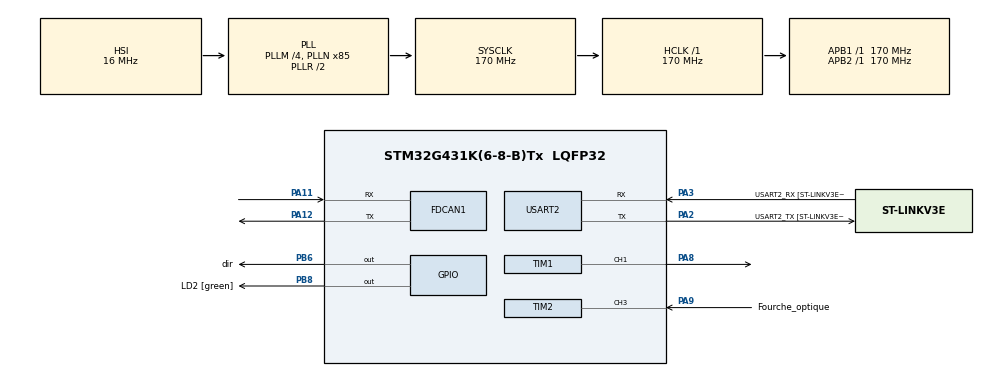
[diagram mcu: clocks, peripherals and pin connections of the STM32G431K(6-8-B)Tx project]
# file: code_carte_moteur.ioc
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FDCAN1.CalculateBaudRateNominal=1000000
FDCAN1.CalculateTimeBitNominal=1000
FDCAN1.CalculateTimeQuantumNominal=100.0
FDCAN1.NominalPrescaler=17
FDCAN1.NominalTimeSeg1=7
FDCAN1.NominalTimeSeg2=2
Mcu.Family=STM32G4
Mcu.Name=STM32G431K(6-8-B)Tx
Mcu.Package=LQFP32
NVIC.FDCAN1_IT0_IRQn=true\:0\:0\:false\:false\:true\:true\:true\:true
NVIC.PriorityGroup=NVIC_PRIORITYGROUP_4
NVIC.TIM2_IRQn=true\:0\:0\:false\:false\:true\:true\:true\:true
NVIC.TIM3_IRQn=true\:0\:0\:false\:false\:true\:true\:true\:true
PA11.Mode=FDCAN_Activate
PA11.Signal=FDCAN1_RX
PA12.Mode=FDCAN_Activate
PA12.Signal=FDCAN1_TX
PA13.GPIO_Label=T_SWDIO
PA13.Mode=Serial_Wire
PA13.Signal=SYS_JTMS-SWDIO
PA14.GPIO_Label=T_SWCLK
PA14.Mode=Serial_Wire
PA14.Signal=SYS_JTCK-SWCLK
PA2.GPIO_Label=USART2_TX [ST-LINKV3E_VCP_RX]
PA2.Mode=Asynchronous
PA2.Signal=USART2_TX
PA3.GPIO_Label=USART2_RX [ST-LINKV3E_VCP_TX]
PA3.Mode=Asynchronous
PA3.Signal=USART2_RX
PA8.Signal=S_TIM1_CH1
PA9.GPIO_Label=Fourche_optique
PA9.GPIO_ModeDefaultPP=GPIO_MODE_AF_PP
PA9.GPIO_PuPd=GPIO_PULLDOWN
PA9.Signal=S_TIM2_CH3
PB3.GPIO_Label=T_SWO
PB3.Signal=SYS_JTDO-SWO
PB6.GPIO_Label=dir
PB6.Signal=GPIO_Output
PB8-BOOT0.GPIO_Label=LD2 [green]
PB8-BOOT0.Signal=GPIO_Output
ProjectManager.HeapSize=0x200
ProjectManager.StackSize=0x400
ProjectManager.TargetToolchain=STM32CubeIDE
RCC.ADC12Freq_Value=170000000
RCC.AHBFreq_Value=170000000
RCC.APB1Freq_Value=170000000
RCC.APB1TimFreq_Value=170000000
RCC.APB2Freq_Value=170000000
RCC.APB2TimFreq_Value=170000000
RCC.CortexFreq_Value=170000000
RCC.EXTERNAL_CLOCK_VALUE=12288000
RCC.HCLKFreq_Value=170000000
RCC.HSE_VALUE=8000000
RCC.HSI48_VALUE=48000000
RCC.HSI_VALUE=16000000
RCC.LSE_VALUE=32768
RCC.PLLM=RCC_PLLM_DIV4
RCC.PLLN=85
RCC.SYSCLKFreq_VALUE=170000000
RCC.SYSCLKSource=RCC_SYSCLKSOURCE_PLLCLK
RCC.USBFreq_Value=170000000
RCC.VCOOutputFreq_Value=340000000
SH.S_TIM1_CH1.0=TIM1_CH1,PWM Generation1 CH1
SH.S_TIM2_CH3.0=TIM2_CH3,Input_Capture3_from_TI3
TIM1.Channel-PWM\ Generation1\ CH1=TIM_CHANNEL_1
TIM1.PeriodNoDither=8500
TIM1.Prescaler=1
TIM1.PulseNoDither_1=4249
TIM2.Channel-Input_Capture3_from_TI3=TIM_CHANNEL_3
TIM2.PeriodNoDither=170000000-1
TIM2.Prescaler=0
TIM3.PeriodNoDither=10000
TIM3.Prescaler=170-1
USART2.VirtualMode-Asynchronous=VM_ASYNC
USART2.WordLength=WORDLENGTH_8B
VP_SYS_VS_DBSignals.Mode=DisableDeadBatterySignals
VP_TIM1_VS_ClockSourceINT.Mode=Internal
VP_TIM2_VS_ClockSourceINT.Mode=Internal
VP_TIM3_VS_ClockSourceINT.Mode=Internal
board=NUCLEO-G431KB

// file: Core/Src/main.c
/* USER CODE BEGIN Header */
/**
 ******************************************************************************
 * @file           : main.c
 * @brief          : Main program body
 ******************************************************************************
 * @attention
 *
 * Copyright (c) 2024 STMicroelectronics.
 * All rights reserved.
 *
 * This software is licensed under terms that can be found in the LICENSE file
 * in the root directory of this software component.
 * If no LICENSE file comes with this software, it is provided AS-IS.
 *
 ******************************************************************************
 */
/* USER CODE END Header */
#include "main.h"
#include "fdcan.h"
#include "tim.h"
#include "usart.h"
#include "gpio.h"

/* USER CODE BEGIN Includes */
#include <stdio.h>
#include <stdbool.h>
#include "herculex.h"
#include "pwm_api.h"
#define TIM_CLOCK_FOURCHE_OPTIQUE 170000000
#define PRESCALAR_FOURCHE_OPTIQUE 1
#define ARR_FOURCHE_OPTIQUE 0xffffffff
#define DISTANCE_ANGULAIRE_EN_METRE 0.00493
#define MAX_SPEED 4.07
#define FACTEUR_CONVERTION_VITESSE_LINEAIRE_EN_RAPPORT_CYCLIQUE (1.0 / 3.90)
#define KP 1.5

/* USER CODE END Includes */

/* USER CODE BEGIN PD */
#undef DEBUG_FOURCHE_OPTIQUE
/* USER CODE END PD */

/* USER CODE BEGIN PM */
#define PUTCHAR_PROTOTYPE int __io_putchar(int ch)
PUTCHAR_PROTOTYPE
{
	HAL_UART_Transmit(&huart2, (uint8_t*)&ch, 1, HAL_MAX_DELAY);

	return ch;
}

//Interruption pour mesurer la vitesse du moteur
float CK_CNT = TIM_CLOCK_FOURCHE_OPTIQUE/(PRESCALAR_FOURCHE_OPTIQUE);
uint32_t IC_Val1 = 0, IC_Val2 = 0;
uint32_t Difference = 0;
char First_rising;
float Frecuency = 0;
float measured_speed_m_par_sec = 0;
float vitesse_consigne = 0.0;
bool sens_rotation;
bool utiliser_asservissement = 0;
//au moment de changement du projet le tim interrupt se désactive
void HAL_TIM_IC_CaptureCallback(TIM_HandleTypeDef *htim)
{

	if(htim->Channel == HAL_TIM_ACTIVE_CHANNEL_3)
	{
		if(First_rising == 1)
		{
			IC_Val1 = HAL_TIM_ReadCapturedValue(htim, TIM_CHANNEL_3);
			First_rising = 0;
		}
		else
		{
			IC_Val2 = HAL_TIM_ReadCapturedValue(htim, TIM_CHANNEL_3);
			if(IC_Val2 > IC_Val1)
			{
				Difference = IC_Val2 - IC_Val1;
			}
			else if (IC_Val1 > IC_Val2)
			{
				Difference = ( ARR_FOURCHE_OPTIQUE - IC_Val1) + IC_Val2;
			}

			Frecuency = CK_CNT/Difference;
			measured_speed_m_par_sec = DISTANCE_ANGULAIRE_EN_METRE*Frecuency;

			__HAL_TIM_SET_COUNTER(htim, 0);
			First_rising = 1;
		}
	}
}
bool dix_millisecondes_passes = 0;
void HAL_TIM_PeriodElapsedCallback(TIM_HandleTypeDef *htim)
{
  	if (htim==&htim3)
  	{
  		dix_millisecondes_passes = 1;
  	}

  }
/* USER CODE END PM */

/* USER CODE BEGIN PV */
T_FDCAN_trame_rx trame_rx;
/* USER CODE END PV */

void SystemClock_Config(void);

int main(void)
{

  /* MCU Configuration--------------------------------------------------------*/

  /* Reset of all peripherals, Initializes the Flash interface and the Systick. */
  HAL_Init();

  /* Configure the system clock */
  SystemClock_Config();

  /* Initialize all configured peripherals */
  MX_GPIO_Init();
  MX_USART2_UART_Init();
  MX_FDCAN1_Init();
  MX_TIM1_Init();
  MX_TIM2_Init();
  MX_TIM3_Init();
  /* USER CODE BEGIN 2 */
  HAL_FDCAN_Start(&hfdcan1);
  HAL_FDCAN_ActivateNotification(&hfdcan1, FDCAN_IT_RX_FIFO0_NEW_MESSAGE, 0);
  HAL_TIM_IC_Start_IT(&htim2,TIM_CHANNEL_3);
  HAL_TIM_PWM_Start(&htim1,TIM_CHANNEL_1);
  HAL_TIM_Base_Start_IT(&htim3);
	/**
	 * @note Mettre la vitesse à 0 au démarrage du moteur CC
	 */
	PWM_dir_and_cycle(0, &htim1, TIM_CHANNEL_1, 0);
  /* USER CODE END 2 */

  /* Infinite loop */
  /* USER CODE BEGIN WHILE */
	float error = 0;
	float pwm = 0;
	float compteur_de_10_mms;
	float compteur_de_vitesse_nulle;
	float measured_speed_m_par_sec_ancien = 0;
	int16_t measured_speed_mm_par_sec = 0;
	int8_t txData[2];
	FDCAN_TxHeaderTypeDef header;
	while (1)
	{
#ifdef DEBUG_FOURCHE_OPTIQUE
		printf(">Vitesse: %f\n", measured_speed_m_par_sec);
		//printf(">Frecuency: %f\n", Frecuency);
#endif

		/**
		 * @note Vitesse asservie de 6.8V à 8.5V pour une consigne de 0.8 m/s
		 */
		if(utiliser_asservissement)
		{
		error = vitesse_consigne - measured_speed_m_par_sec;
		//printf(">error_vitesse_lineaire: %2.5f m/s\n", error);
		error = error * FACTEUR_CONVERTION_VITESSE_LINEAIRE_EN_RAPPORT_CYCLIQUE * KP;
		//printf(">error_rapport_cyclique: %2.5f m/s\n", error);
		pwm = vitesse_consigne * FACTEUR_CONVERTION_VITESSE_LINEAIRE_EN_RAPPORT_CYCLIQUE + error;
		//printf(">pwm: %f\n", pwm);
		PWM_dir_and_cycle(sens_rotation, &htim1, TIM_CHANNEL_1, pwm);
		}
		if(dix_millisecondes_passes)
				{
					compteur_de_10_mms++;
					if(measured_speed_m_par_sec == measured_speed_m_par_sec_ancien)
					{
						compteur_de_vitesse_nulle++;
						//printf(">compteur_de_vitesse_nulle: %2.5f m/s\n", compteur_de_vitesse_nulle);
					}
					else compteur_de_vitesse_nulle = 0;
					if(compteur_de_vitesse_nulle == 50)
					{
						measured_speed_m_par_sec = 0;
						compteur_de_vitesse_nulle = 0;
					}
					if(compteur_de_10_mms == 10)
					{
						measured_speed_mm_par_sec = measured_speed_m_par_sec*1000;
						txData[0] = measured_speed_mm_par_sec >> 8;
						txData[1] = measured_speed_mm_par_sec & 0x00FF;
						/******************* NE PAS TOUCHER **************************************/
						header.ErrorStateIndicator = FDCAN_ESI_ACTIVE;
						header.BitRateSwitch = FDCAN_BRS_OFF;
						header.FDFormat = FDCAN_CLASSIC_CAN;
						header.TxEventFifoControl = FDCAN_NO_TX_EVENTS;
						header.MessageMarker = 0;
						/*************************************************************************/

						header.Identifier = CAN_ID_FOURCHE_OPTIQUE; // Set your CAN identifier
						header.IdType = FDCAN_STANDARD_ID; // Standard ID
						header.TxFrameType = FDCAN_DATA_FRAME; // Data frame
						header.DataLength = 2; // Data length

						/*************************************************************************/
						HAL_FDCAN_AddMessageToTxFifoQ(&hfdcan1, &header, txData);
						compteur_de_10_mms = 0;

					}
					dix_millisecondes_passes = 0;
					measured_speed_m_par_sec_ancien = measured_speed_m_par_sec;
				}
    /* USER CODE END WHILE */

	}
}

void SystemClock_Config(void)
{
  RCC_OscInitTypeDef RCC_OscInitStruct = {0};
  RCC_ClkInitTypeDef RCC_ClkInitStruct = {0};

  /** Configure the main internal regulator output voltage
  */
  HAL_PWREx_ControlVoltageScaling(PWR_REGULATOR_VOLTAGE_SCALE1_BOOST);

  /** Initializes the RCC Oscillators according to the specified parameters
  * in the RCC_OscInitTypeDef structure.
  */
  RCC_OscInitStruct.OscillatorType = RCC_OSCILLATORTYPE_HSI;
  RCC_OscInitStruct.HSIState = RCC_HSI_ON;
  RCC_OscInitStruct.HSICalibrationValue = RCC_HSICALIBRATION_DEFAULT;
  RCC_OscInitStruct.PLL.PLLState = RCC_PLL_ON;
  RCC_OscInitStruct.PLL.PLLSource = RCC_PLLSOURCE_HSI;
  RCC_OscInitStruct.PLL.PLLM = RCC_PLLM_DIV4;
  RCC_OscInitStruct.PLL.PLLN = 85;
  RCC_OscInitStruct.PLL.PLLP = RCC_PLLP_DIV2;
  RCC_OscInitStruct.PLL.PLLQ = RCC_PLLQ_DIV2;
  RCC_OscInitStruct.PLL.PLLR = RCC_PLLR_DIV2;
  if (HAL_RCC_OscConfig(&RCC_OscInitStruct) != HAL_OK)
  {
    Error_Handler();
  }

  /** Initializes the CPU, AHB and APB buses clocks
  */
  RCC_ClkInitStruct.ClockType = RCC_CLOCKTYPE_HCLK|RCC_CLOCKTYPE_SYSCLK
                              |RCC_CLOCKTYPE_PCLK1|RCC_CLOCKTYPE_PCLK2;
  RCC_ClkInitStruct.SYSCLKSource = RCC_SYSCLKSOURCE_PLLCLK;
  RCC_ClkInitStruct.AHBCLKDivider = RCC_SYSCLK_DIV1;
  RCC_ClkInitStruct.APB1CLKDivider = RCC_HCLK_DIV1;
  RCC_ClkInitStruct.APB2CLKDivider = RCC_HCLK_DIV1;

  if (HAL_RCC_ClockConfig(&RCC_ClkInitStruct, FLASH_LATENCY_4) != HAL_OK)
  {
    Error_Handler();
  }
}

/* USER CODE BEGIN 4 */
void HAL_FDCAN_RxFifo0Callback(FDCAN_HandleTypeDef *hfdcan, uint32_t RxFifo0ITs) {
		HAL_FDCAN_GetRxMessage(&hfdcan1, FDCAN_RX_FIFO0, &trame_rx.header, trame_rx.data);

		switch (trame_rx.header.Identifier) {
			case CAN_ID_HERKULEX:

        /**
         * @attention
         * Pas de printf sur l'USART2 car ça fait planter le herkulex
         */
				uint16_t pos_herculex = ((uint16_t) trame_rx.data[0] << 8) | trame_rx.data[1];
        /**
         * @Attention Si le Herkulex n'est pas alimenté en 7.2V alors il clignote en rouge
         */
				send_pos(ID_HERKULEX, pos_herculex);
				break;
			case CAN_ID_MOTEUR://pwm consigne en %
					float pwm_consigne = trame_rx.data[0] / 100.0; //pwm consigne en decimal
					bool sens_rotation =  trame_rx.data[1];
					PWM_dir_and_cycle(sens_rotation, &htim1, TIM_CHANNEL_1, pwm_consigne);
					utiliser_asservissement = 0;
				break;
			case CAN_ID_VITESSE_LINEAIRE://vitesse consigne réçu en mm/s
					int16_t vitesse_consigne_en_mm = ((uint16_t)trame_rx.data[0]  << 8) | (uint16_t)trame_rx.data[1]; //vitesse transformée en m/s
					vitesse_consigne = vitesse_consigne_en_mm / 1000.0;
					sens_rotation =  trame_rx.data[2];
					utiliser_asservissement = 1;
				break;
			default:
				break;
		}
}
/* USER CODE END 4 */

void Error_Handler(void)
{
	__disable_irq();
	while (1)
	{
	}
}
